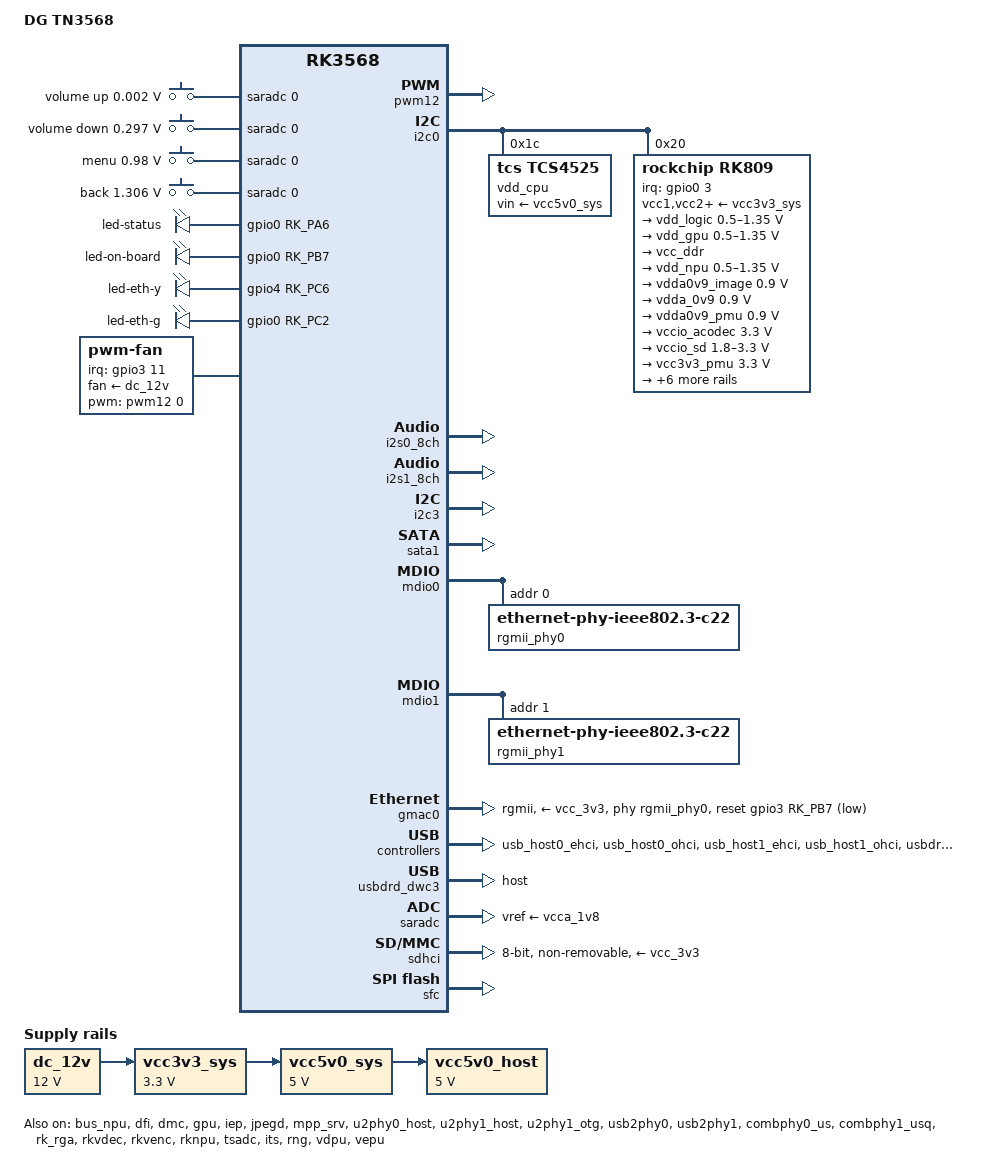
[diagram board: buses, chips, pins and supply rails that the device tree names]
// SPDX-License-Identifier: (GPL-2.0+ OR MIT)
/*
 * Copyright (c) 2020 Rockchip Electronics Co., Ltd.
 *
 */

/dts-v1/;

#include <dt-bindings/gpio/gpio.h>
#include <dt-bindings/pwm/pwm.h>
#include <dt-bindings/pinctrl/rockchip.h>
#include <dt-bindings/input/rk-input.h>
#include <dt-bindings/input/rk-ir.h>
#include <dt-bindings/display/drm_mipi_dsi.h>
#include <dt-bindings/display/rockchip_vop.h>
#include <dt-bindings/sensor-dev.h>
#include "rk3568.dtsi"
#include "rk3568-linux.dtsi"

/ {

	model = "DG TN3568";
	compatible = "dg,tn3568", "rockchip,rk3568";

	aliases {
		ethernet0 = &gmac0;
		mmc0 = &sdhci;
	};

	chosen: chosen {
		bootargs = "earlycon=uart8250,mmio32,0xfe660000 console=ttyFIQ0 root=PARTUUID=614e0000-0000 rw rootwait";
	};

	adc_keys: adc-keys {
		compatible = "adc-keys";
		io-channels = <&saradc 0>;
		io-channel-names = "buttons";
		keyup-threshold-microvolt = <1800000>;
		poll-interval = <100>;

		vol-up-key {
			label = "volume up";
			linux,code = <KEY_VOLUMEUP>;
			press-threshold-microvolt = <1750>;
		};

		vol-down-key {
			label = "volume down";
			linux,code = <KEY_VOLUMEDOWN>;
			press-threshold-microvolt = <297500>;
		};

		menu-key {
			label = "menu";
			linux,code = <KEY_MENU>;
			press-threshold-microvolt = <980000>;
		};

		back-key {
			label = "back";
			linux,code = <KEY_BACK>;
			press-threshold-microvolt = <1305500>;
		};
	};

	audiopwmout_diff: audiopwmout-diff {
		status = "disabled";
		compatible = "simple-audio-card";
		simple-audio-card,format = "i2s";
		simple-audio-card,name = "rockchip,audiopwmout-diff";
		simple-audio-card,mclk-fs = <256>;
		simple-audio-card,bitclock-master = <&master>;
		simple-audio-card,frame-master = <&master>;
		simple-audio-card,cpu {
			sound-dai = <&i2s3_2ch>;
		};
		master: simple-audio-card,codec {
			sound-dai = <&dig_acodec>;
		};
	};

	dc_12v: dc-12v {
		compatible = "regulator-fixed";
		regulator-name = "dc_12v";
		regulator-always-on;
		regulator-boot-on;
		regulator-min-microvolt = <12000000>;
		regulator-max-microvolt = <12000000>;
	};

	pdmics: dummy-codec {
		status = "disabled";
		compatible = "rockchip,dummy-codec";
		#sound-dai-cells = <0>;
	};

	pdm_mic_array: pdm-mic-array {
		status = "disabled";
		compatible = "simple-audio-card";
		simple-audio-card,name = "rockchip,pdm-mic-array";
		simple-audio-card,cpu {
			sound-dai = <&pdm>;
		};
		simple-audio-card,codec {
			sound-dai = <&pdmics>;
		};
	};

	rk809_sound: rk809-sound {
		status = "okay";
		compatible = "simple-audio-card";
		simple-audio-card,format = "i2s";
		simple-audio-card,name = "rockchip,rk809-codec";
		simple-audio-card,mclk-fs = <256>;

		simple-audio-card,cpu {
			sound-dai = <&i2s1_8ch>;
		};
		simple-audio-card,codec {
			sound-dai = <&rk809_codec>;
		};
	};

	spdif-sound {
		status = "disabled";
		compatible = "simple-audio-card";
		simple-audio-card,name = "ROCKCHIP,SPDIF";
		simple-audio-card,cpu {
				sound-dai = <&spdif_8ch>;
		};
		simple-audio-card,codec {
				sound-dai = <&spdif_out>;
		};
	};

	spdif_out: spdif-out {
			status = "disabled";
			compatible = "linux,spdif-dit";
			#sound-dai-cells = <0>;
	};

	vad_sound: vad-sound {
		status = "disabled";
		compatible = "rockchip,multicodecs-card";
		rockchip,card-name = "rockchip,rk3568-vad";
		rockchip,cpu = <&i2s1_8ch>;
		rockchip,codec = <&rk809_codec>, <&vad>;
	};

	vcc3v3_sys: vcc3v3-sys {
		compatible = "regulator-fixed";
		regulator-name = "vcc3v3_sys";
		regulator-always-on;
		regulator-boot-on;
		regulator-min-microvolt = <3300000>;
		regulator-max-microvolt = <3300000>;
		vin-supply = <&dc_12v>;
	};	


	vcc5v0_sys: vcc5v0-sys {
		compatible = "regulator-fixed";
		regulator-name = "vcc5v0_sys";
		regulator-always-on;
		regulator-boot-on;
		regulator-min-microvolt = <5000000>;
		regulator-max-microvolt = <5000000>;
		vin-supply = <&vcc3v3_sys>;
	};

	vcc5v0_host: vcc5v0-host-regulator {
		compatible = "regulator-fixed";
		regulator-name = "vcc5v0_host";
		regulator-boot-on;
		regulator-always-on;
		regulator-min-microvolt = <5000000>;
		regulator-max-microvolt = <5000000>;

		vin-supply = <&vcc5v0_sys>;

	};

	test-power {
		status = "okay";
	};

	leds {
		compatible = "gpio-leds";

		led_status: led-status {
			label = "led-status";
			gpios = <&gpio0 RK_PA6 GPIO_ACTIVE_HIGH>;
			linux,default-trigger = "heartbeat";
			pinctrl-names = "default";
			pinctrl-0 = <&led_sys_h>;
		};

		led_on_board: led-on-board {
			label = "led-on-board";
			gpios = <&gpio0 RK_PB7 GPIO_ACTIVE_HIGH>;
			//linux,default-trigger = "heartbeat";
			pinctrl-names = "default";
			pinctrl-0 = <&led_on_board_h>;
		};

		led_eth_y: led-eth-y {
			label = "led-eth-y";
			gpios = <&gpio4 RK_PC6 GPIO_ACTIVE_HIGH>;
			//linux,default-trigger = "default-on";
			pinctrl-names = "default";
			pinctrl-0 = <&led_eth_y_h>;
		};

		led_eth_g: led-eth-g {
			label = "led-eth-g";
			gpios = <&gpio0 RK_PC2 GPIO_ACTIVE_HIGH>;
			//linux,default-trigger = "default-on";
			pinctrl-names = "default";
			pinctrl-0 = <&led_eth_g_h>;
		};
	};

	fan: pwm-fan {
		compatible = "pwm-fan";
		pwms = <&pwm12 0 40000 0>;
		fan-supply = <&dc_12v>;
		interrupt-parent = <&gpio3>;
		interrupts = <11 IRQ_TYPE_EDGE_FALLING>;
		pulses-per-revolution = <2>;
		cooling-levels = <0 50 100 150 200 255>;
		rockchip,temp-trips = <
				40000   1
				50000   2
				55000   3
				60000   4
				70000   5
		>;
	};
	
};

&bus_npu {
	bus-supply = <&vdd_logic>;
	pvtm-supply = <&vdd_cpu>;
	status = "okay";
};

&can0 {
	assigned-clocks = <&cru CLK_CAN0>;
	assigned-clock-rates = <150000000>;
	pinctrl-names = "default";
	pinctrl-0 = <&can0m1_pins>;
	status = "disabled";
};

&can1 {
	assigned-clocks = <&cru CLK_CAN1>;
	assigned-clock-rates = <150000000>;
	pinctrl-names = "default";
	pinctrl-0 = <&can1m1_pins>;
	status = "disabled";
};

&can2 {
	assigned-clocks = <&cru CLK_CAN2>;
	assigned-clock-rates = <150000000>;
	pinctrl-names = "default";
	pinctrl-0 = <&can2m1_pins>;
	status = "disabled";
};

&cpu0 {
	cpu-supply = <&vdd_cpu>;
};

&cpu1 {
	cpu-supply = <&vdd_cpu>;
};

&cpu2 {
	cpu-supply = <&vdd_cpu>;
};

&cpu3 {
	cpu-supply = <&vdd_cpu>;
};

&dfi {
	status = "okay";
};

&dmc {
	center-supply = <&vdd_logic>;
	status = "okay";

	system-status-level = <
		/*system status		 freq level*/
		SYS_STATUS_NORMAL	  DMC_FREQ_LEVEL_MID_HIGH 
	>;
	
	auto-freq-en = <0>;

};

&gpu {
	//clock-names = "gpu", "bus";
	//interrupt-names = "gpu", "mmu", "job";
	mali-supply = <&vdd_gpu>;
	status = "okay";
};

&pwm12 {
	pinctrl-0 = <&pwm12m1_pins>;
	pinctrl-names = "active";
	status = "okay";
};

&pwm4 {
	status = "disabled";
};

&pwm5 {
	status = "disabled";
};

&csi2_dphy_hw {
	status = "disabled";
};

&csi2_dphy0 {
	status = "disabled";
};

&rkisp {
	status = "disabled";
};

&rkisp_mmu {
	status = "disabled";
};

&rkisp_vir0 {
	status = "disabled";
};

&i2c0 {
	status = "okay";

	vdd_cpu: regulator@1c {
		compatible = "tcs,tcs4525";
		reg = <0x1c>;
		fcs,suspend-voltage-selector = <1>;
		regulator-name = "vdd_cpu";
		regulator-min-microvolt = <800000>;
		regulator-max-microvolt = <1150000>;
		regulator-ramp-delay = <2300>;
		regulator-always-on;
		regulator-boot-on;
		vin-supply = <&vcc5v0_sys>;

		regulator-state-mem {
			regulator-off-in-suspend;
		};
	};

	rk809: pmic@20 {
		compatible = "rockchip,rk809";
		reg = <0x20>;
		interrupt-parent = <&gpio0>;
		interrupts = <3 IRQ_TYPE_LEVEL_LOW>;

		pinctrl-names = "default", "pmic-sleep",
				"pmic-power-off", "pmic-reset";
		pinctrl-0 = <&pmic_int>;
		pinctrl-1 = <&soc_slppin_slp>, <&rk817_slppin_slp>;
		pinctrl-2 = <&soc_slppin_gpio>, <&rk817_slppin_pwrdn>;
		pinctrl-3 = <&soc_slppin_gpio>, <&rk817_slppin_rst>;

		rockchip,system-power-controller;
		wakeup-source;
		#clock-cells = <1>;
		clock-output-names = "rk808-clkout1", "rk808-clkout2";
		//fb-inner-reg-idxs = <2>;
		/* 1: rst regs (default in codes), 0: rst the pmic */
		pmic-reset-func = <0>;
		/* not save the PMIC_POWER_EN register in uboot */
		not-save-power-en = <1>;

		vcc1-supply = <&vcc3v3_sys>;
		vcc2-supply = <&vcc3v3_sys>;
		vcc3-supply = <&vcc3v3_sys>;
		vcc4-supply = <&vcc3v3_sys>;
		vcc5-supply = <&vcc3v3_sys>;
		vcc6-supply = <&vcc3v3_sys>;
		vcc7-supply = <&vcc3v3_sys>;
		vcc8-supply = <&vcc3v3_sys>;
		vcc9-supply = <&vcc3v3_sys>;

		pwrkey {
			status = "okay";
		};

		pinctrl_rk8xx: pinctrl_rk8xx {
			gpio-controller;
			#gpio-cells = <2>;

			rk817_slppin_null: rk817_slppin_null {
				pins = "gpio_slp";
				function = "pin_fun0";
			};

			rk817_slppin_slp: rk817_slppin_slp {
				pins = "gpio_slp";
				function = "pin_fun1";
			};

			rk817_slppin_pwrdn: rk817_slppin_pwrdn {
				pins = "gpio_slp";
				function = "pin_fun2";
			};

			rk817_slppin_rst: rk817_slppin_rst {
				pins = "gpio_slp";
				function = "pin_fun3";
			};
		};

		regulators {
			vdd_logic: DCDC_REG1 {
				regulator-always-on;
				regulator-boot-on;
				regulator-min-microvolt = <500000>;
				regulator-max-microvolt = <1350000>;
				regulator-init-microvolt = <900000>;
				regulator-ramp-delay = <6001>;
				regulator-initial-mode = <0x2>;
				regulator-name = "vdd_logic";
				regulator-state-mem {
					regulator-off-in-suspend;
				};
			};

			vdd_gpu: DCDC_REG2 {
				regulator-always-on;
				regulator-boot-on;
				regulator-min-microvolt = <500000>;
				regulator-max-microvolt = <1350000>;
				regulator-init-microvolt = <900000>;
				regulator-ramp-delay = <6001>;
				regulator-initial-mode = <0x2>;
				regulator-name = "vdd_gpu";
				regulator-state-mem {
					regulator-off-in-suspend;
				};
			};

			vcc_ddr: DCDC_REG3 {
				regulator-always-on;
				regulator-boot-on;
				regulator-initial-mode = <0x2>;
				regulator-name = "vcc_ddr";
				regulator-state-mem {
					regulator-on-in-suspend;
				};
			};

			vdd_npu: DCDC_REG4 {
				regulator-always-on;
				regulator-boot-on;
				regulator-min-microvolt = <500000>;
				regulator-max-microvolt = <1350000>;
				regulator-init-microvolt = <900000>;
				regulator-ramp-delay = <6001>;
				regulator-initial-mode = <0x2>;
				regulator-name = "vdd_npu";
				regulator-state-mem {
					regulator-off-in-suspend;
				};
			};

			vdda0v9_image: LDO_REG1 {
				regulator-boot-on;
				regulator-always-on;
				regulator-min-microvolt = <900000>;
				regulator-max-microvolt = <900000>;
				regulator-name = "vdda0v9_image";
				regulator-state-mem {
					regulator-off-in-suspend;
				};
			};

			vdda_0v9: LDO_REG2 {
				regulator-always-on;
				regulator-boot-on;
				regulator-min-microvolt = <900000>;
				regulator-max-microvolt = <900000>;
				regulator-name = "vdda_0v9";
				regulator-state-mem {
					regulator-off-in-suspend;
				};
			};

			vdda0v9_pmu: LDO_REG3 {
				regulator-always-on;
				regulator-boot-on;
				regulator-min-microvolt = <900000>;
				regulator-max-microvolt = <900000>;
				regulator-name = "vdda0v9_pmu";
				regulator-state-mem {
					regulator-on-in-suspend;
					regulator-suspend-microvolt = <900000>;
				};
			};

			vccio_acodec: LDO_REG4 {
				regulator-always-on;
				regulator-boot-on;
				regulator-min-microvolt = <3300000>;
				regulator-max-microvolt = <3300000>;
				regulator-name = "vccio_acodec";
				regulator-state-mem {
					regulator-off-in-suspend;
				};
			};

			vccio_sd: LDO_REG5 {
				regulator-always-on;
				regulator-boot-on;
				regulator-min-microvolt = <1800000>;
				regulator-max-microvolt = <3300000>;
				regulator-name = "vccio_sd";
				regulator-state-mem {
					regulator-off-in-suspend;
				};
			};

			vcc3v3_pmu: LDO_REG6 {
				regulator-always-on;
				regulator-boot-on;
				regulator-min-microvolt = <3300000>;
				regulator-max-microvolt = <3300000>;
				regulator-name = "vcc3v3_pmu";
				regulator-state-mem {
					regulator-on-in-suspend;
					regulator-suspend-microvolt = <3300000>;
				};
			};

			vcca_1v8: LDO_REG7 {
				regulator-always-on;
				regulator-boot-on;
				regulator-min-microvolt = <1800000>;
				regulator-max-microvolt = <1800000>;
				regulator-name = "vcca_1v8";
				regulator-state-mem {
					regulator-off-in-suspend;
				};
			};

			vcca1v8_pmu: LDO_REG8 {
				regulator-always-on;
				regulator-boot-on;
				regulator-min-microvolt = <1800000>;
				regulator-max-microvolt = <1800000>;
				regulator-name = "vcca1v8_pmu";
				regulator-state-mem {
					regulator-on-in-suspend;
					regulator-suspend-microvolt = <1800000>;
				};
			};

			vcca1v8_image: LDO_REG9 {
				regulator-always-on;
				regulator-boot-on;
				regulator-min-microvolt = <1800000>;
				regulator-max-microvolt = <1800000>;
				regulator-name = "vcca1v8_image";
				regulator-state-mem {
					regulator-off-in-suspend;
				};
			};

			vcc_1v8: DCDC_REG5 {
				regulator-always-on;
				regulator-boot-on;
				regulator-min-microvolt = <1800000>;
				regulator-max-microvolt = <1800000>;
				regulator-name = "vcc_1v8";
				regulator-state-mem {
					regulator-off-in-suspend;
				};
			};

			vcc_3v3: SWITCH_REG1 {
				regulator-always-on;
				regulator-boot-on;
				regulator-name = "vcc_3v3";
				regulator-state-mem {
					regulator-off-in-suspend;
				};
			};

			vcc3v3_sd: SWITCH_REG2 {
				regulator-always-on;
				regulator-boot-on;
				regulator-name = "vcc3v3_sd";
				regulator-state-mem {
					regulator-off-in-suspend;
				};
			};
		};

		rk809_codec: codec {
			#sound-dai-cells = <0>;
			compatible = "rockchip,rk809-codec", "rockchip,rk817-codec";
			clocks = <&cru I2S1_MCLKOUT>;
			clock-names = "mclk";
			assigned-clocks = <&cru I2S1_MCLKOUT>, <&cru I2S1_MCLK_TX_IOE>;
			assigned-clock-rates = <12288000>;
			assigned-clock-parents = <&cru I2S1_MCLKOUT_TX>, <&cru I2S1_MCLKOUT_TX>;
			pinctrl-names = "default";
			pinctrl-0 = <&i2s1m0_mclk>;
			hp-volume = <20>;
			spk-volume = <3>;
			mic-in-differential;
			status = "okay";
		};
	};
};

&i2s0_8ch {
	status = "okay";
};

&i2s1_8ch {
	status = "okay";
	rockchip,clk-trcm = <1>;
	pinctrl-names = "default";
	pinctrl-0 = <&i2s1m0_sclktx
			 &i2s1m0_lrcktx
			 &i2s1m0_sdi0
			 &i2s1m0_sdo0>;
};


&i2c2 {
	status = "disabled";
};

&i2c3 {
	status = "okay";
};

&i2c4 {
	status = "disabled";
};

&iep {
	status = "okay";
};

&iep_mmu {
	status = "okay";
};

&jpegd {
	status = "okay";
};

&jpegd_mmu {
	status = "okay";
};

&mpp_srv {
	status = "okay";
};

&sata0 {
	status = "disabled";
};

&sata1 {
	status = "okay";
};

/* PCIE */
&combphy2_psq {
	status = "disabled";
};

&uart0 {
	status = "disabled";
	pinctrl-names = "default";
	pinctrl-0 = <&uart0_xfer>;
};

&uart2 {
	status = "disabled";
};

&uart3 {
	status = "disabled";
};

&uart4 {
	status = "disabled";
};

&uart5 {
	status = "disabled";
};

&uart7 {
	status = "disabled";
};

&uart8 {
	status = "disabled";
};

&mdio0 {
	rgmii_phy0: phy@0 {
		compatible = "ethernet-phy-ieee802.3-c22";
		reg = <0x0>;
	};
};

&mdio1 {
	rgmii_phy1: phy@1 {
		compatible = "ethernet-phy-ieee802.3-c22";
		reg = <0x1>;
	};
};

&gmac0 {
	phy-mode = "rgmii";
	clock_in_out = "input";

	snps,reset-gpio = <&gpio3 RK_PB7 GPIO_ACTIVE_LOW>;
	snps,reset-active-low;
	/* Reset time is 20ms, 100ms for rtl8211f */
	snps,reset-delays-us = <0 20000 100000>;

	assigned-clocks = <&cru SCLK_GMAC0_RX_TX>, <&cru SCLK_GMAC0>;
	assigned-clock-parents = <&cru SCLK_GMAC0_RGMII_SPEED>, <&cru CLK_MAC0_2TOP>;
	assigned-clock-rates = <0>, <125000000>;

	pinctrl-names = "default";
	pinctrl-0 = <&gmac0_miim
			 &gmac0_tx_bus2
			 &gmac0_rx_bus2
			 &gmac0_rgmii_clk
			 &gmac0_rgmii_bus>;

	tx_delay = <0x2a>;
	rx_delay = <0x2a>;

	phy-handle = <&rgmii_phy0>;
	phy-supply = <&vcc_3v3>;
	status = "okay";
};



&gmac1 {
	status = "disabled";
};

&can1 {
	assigned-clocks = <&cru CLK_CAN1>;
	assigned-clock-rates = <150000000>;
	pinctrl-names = "default";
	pinctrl-0 = <&can1m1_pins>;
	status = "disabled";
};

&can2 {
	assigned-clocks = <&cru CLK_CAN2>;
	assigned-clock-rates = <150000000>;
	pinctrl-names = "default";
	pinctrl-0 = <&can2m1_pins>;
	status = "disabled";
};

	
&pcie2x1 {
	status = "disabled";
};

&pcie30phy {
	status = "disabled";
};

&pcie3x2 {
	status = "disabled";
};

&rk809_codec {
	status = "disabled";
	spk-mute-delay-ms = <30>;
};

&rk809_sound {
	status = "disabled";
};



/* 对应lede usb2phy0_host */
&u2phy0_host {
	phy-supply = <&vcc5v0_host>;
	status = "okay";
};

/* 对应lede usb2phy0_otg */
&u2phy0_otg {
	vbus-supply = <&vcc5v0_host>;
	status = "disabled";
};

/* lede usb2phy1_host */
&u2phy1_host {
	phy-supply = <&vcc5v0_host>;
	status = "okay";
};

/* lede usb2phy1_otg */
&u2phy1_otg {
	status = "okay";
};

&usb2phy0 {
	status = "okay";
};

&usb2phy1 {
	vbus-supply = <&vcc5v0_host>;
	status = "okay";
};

&usb_host0_ehci {
	status = "okay";
};

&usb_host0_ohci {
	status = "okay";
};

&usb_host1_ehci {
	status = "okay";
};

&usb_host1_ohci {
	status = "okay";
};

/*USB3.0 controller 对应lede usb_host0_xhci */
&usbdrd_dwc3 {
	dr_mode = "host";
	//extcon = <&usb2phy0>;
	status = "okay";
};

&usbdrd30 {
	status = "okay";
};

&usbhost_dwc3 {
	status = "okay";
};

&usbhost30 {
	status = "okay";
};

/*USB3.0 OTG PHY*/
&combphy0_us {
	status = "okay";
	phy-supply = <&vcc5v0_host>;
};

/*USB 3.0 HOST 与 SATA1 复用 对应lede usb_host1_xhci */

&usbhost_dwc3 { 
	status = "okay"; 
};

/* 对应lede combphy1 */
&combphy1_usq { 
//	rockchip,dis-u3otg1-port;
	phy-supply = <&vcc5v0_host>;
	status = "okay"; 
};


&pinctrl {
	pmic {
		pmic_int: pmic_int {
			rockchip,pins =
				<0 RK_PA3 RK_FUNC_GPIO &pcfg_pull_up>;
		};

		soc_slppin_gpio: soc_slppin_gpio {
			rockchip,pins =
				<0 RK_PA2 RK_FUNC_GPIO &pcfg_output_low_pull_down>;
		};

		soc_slppin_slp: soc_slppin_slp {
			rockchip,pins =
				<0 RK_PA2 1 &pcfg_pull_up>;
		};

		soc_slppin_rst: soc_slppin_rst {
			rockchip,pins =
				<0 RK_PA2 2 &pcfg_pull_none>;
		};
	};
	
	leds {
		led_eth_y_h: led_eth_y_h {
			rockchip,pins = <4 RK_PC6 RK_FUNC_GPIO &pcfg_pull_none>;
		};

		led_eth_g_h: led_eth_g_h {
			rockchip,pins = <0 RK_PC2 RK_FUNC_GPIO &pcfg_pull_none>;
		};

		led_sys_h: led_sys_h {
			rockchip,pins = <0 RK_PA6 RK_FUNC_GPIO &pcfg_pull_none>;
		};

		led_on_board_h: led_on_board_h {
			rockchip,pins = <0 RK_PB7 RK_FUNC_GPIO &pcfg_pull_none>;
		};
	};
};

&pmu_io_domains {
	pmuio1-supply = <&vcc3v3_pmu>;
	pmuio2-supply = <&vcc3v3_pmu>;
	vccio1-supply = <&vccio_acodec>;
	vccio2-supply = <&vcc_1v8>;
	vccio3-supply = <&vccio_sd>;
	vccio4-supply = <&vcc_1v8>;
	vccio5-supply = <&vcc_3v3>;
	vccio6-supply = <&vcc_1v8>;
	vccio7-supply = <&vcc_3v3>;
	status = "okay";
};

&rk_rga {
	status = "okay";
};

&rkvdec {
	status = "okay";
};

&rkvdec_mmu {
	status = "okay";
};

&rkvenc {
	venc-supply = <&vdd_logic>;
	status = "okay";
};

&rkvenc_mmu {
	status = "okay";
};

&rknpu {
	rknpu-supply = <&vdd_npu>;
	status = "okay";
};

&rknpu_mmu {
	status = "okay";
};

&saradc {
	status = "okay";
	vref-supply = <&vcca_1v8>;
};

&sdhci {
	bus-width = <8>;
	supports-emmc;
	non-removable;
	max-frequency = <200000000>;
	mmc-hs200-1_8v;
	vmmc-supply = <&vcc_3v3>;
	vqmmc-supply = <&vcc_1v8>;
	status = "okay";
};

&sfc {
	status = "okay";
};

&spdif_8ch {
	status = "disabled";
};

&tsadc {
	status = "okay";
};

&its {
	status = "okay";
};

&rng {
	status = "okay";
};

&vad {
	rockchip,audio-src = <&i2s1_8ch>;
	rockchip,buffer-time-ms = <128>;
	rockchip,det-channel = <0>;
	rockchip,mode = <0>;
};

&vdpu {
	status = "okay";
};

&vdpu_mmu {
	status = "okay";
};

&vepu {
	status = "okay";
};

&vepu_mmu {
	status = "okay";
};
